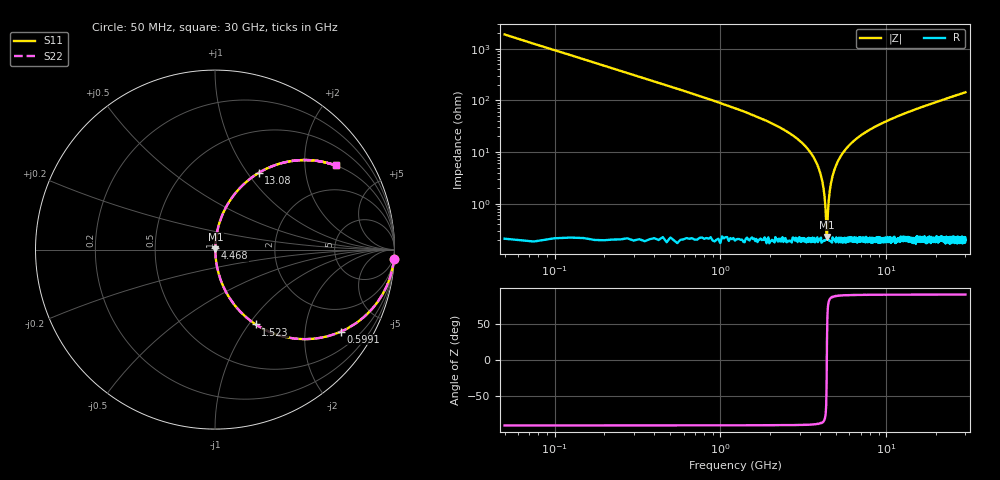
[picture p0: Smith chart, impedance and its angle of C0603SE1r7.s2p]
!	AVX Thin Film Operation 	Date: April 2014
!	Description: Accu-P® Series, Thin Film  SMD RF Capacitor
!	Part Number: 06031J1R7PBSTR
# MHZ S MA R 50
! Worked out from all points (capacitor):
!   1201 points, 50 MHz to 30 GHz, reference 50 ohm
!   read as one part in series: C = 1.7 pF near 199.8 MHz
!   lowest |Z| = 226 mohm at 4.393 GHz (marker M1)
!   series resonance near 4.382 GHz, so ESL is about 780 pH
!   S11 on the Smith chart (normalised r, x): 50 MHz: 1, -37; 599.1 MHz: 1.00, -3.07; 1.523 GHz: 1.00, -1.08; 4.468 GHz: 1.00, +0.02; 13.08 GHz: 1.00, +1.13; 30 GHz: 1.01, +2.86
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50  0.999 -3.1  0.053 86.9  0.053 86.9  0.999 -3.1
299.583  0.952 -17.8  0.306 72.1  0.306 72.1  0.952 -17.8
599.083  0.837 -33.1  0.546 56.8  0.546 56.8  0.837 -33.1
973.458  0.674 -47.5  0.737 42.4  0.737 42.4  0.674 -47.5
1522.542  0.475 -61.4  0.878 28.4  0.878 28.4  0.475 -61.4
2845.333  0.187 -78.6  0.98 10.8  0.98 10.8  0.187 -78.6
3619.042  0.082 -83.9  0.995 4.7  0.995 4.7  0.082 -83.9
4043.333  0.034 -84.7  0.997 2.0  0.997 2.0  0.034 -84.7
4143.167  0.024 -83.9  0.998 1.4  0.998 1.4  0.024 -83.9
4292.917  0.008976 -76.6  0.998 0.5  0.998 0.5  0.008976 -76.6
4392.75  0.002257 27.7  0.998 -0.1  0.998 -0.1  0.002257 27.7
4467.625  0.008498 75.9  0.998 -0.5  0.998 -0.5  0.008498 75.9
4692.25  0.029 84.4  0.998 -1.7  0.998 -1.7  0.029 84.4
5041.667  0.06 84.7  0.996 -3.4  0.996 -3.4  0.06 84.7
5640.667  0.108 82.7  0.992 -6.2  0.992 -6.2  0.108 82.7
6663.958  0.181 78.9  0.982 -10.4  0.982 -10.4  0.181 78.9
10058.29  0.369 68.1  0.928 -21.6  0.928 -21.6  0.369 68.1
13078.25  0.492 60.3  0.869 -29.5  0.869 -29.5  0.492 60.3
15025  0.556 56.0  0.83 -33.8  0.83 -33.8  0.556 56.0
20016.67  0.68 47.0  0.732 -42.8  0.732 -42.8  0.68 47.0
25033.29  0.763 40.2  0.645 -49.7  0.645 -49.7  0.763 40.2
30000  0.819 34.9  0.572 -55.0  0.572 -55.0  0.819 34.9
